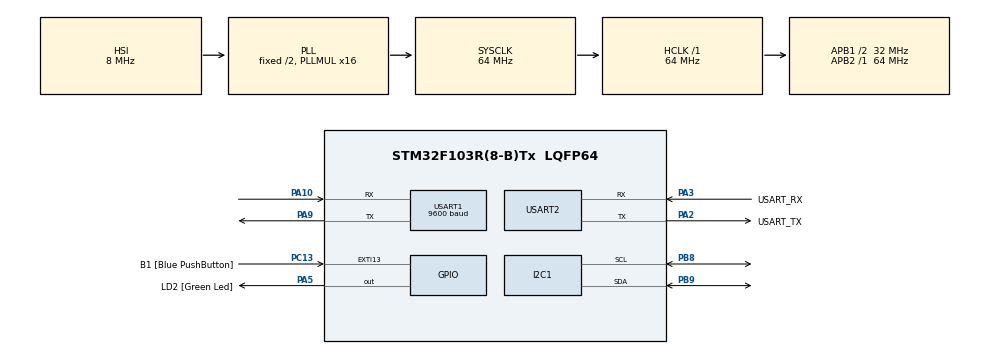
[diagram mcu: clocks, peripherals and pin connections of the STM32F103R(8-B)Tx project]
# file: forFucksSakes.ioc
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Dma.Request0=USART1_RX
Dma.USART1_RX.0.Direction=DMA_PERIPH_TO_MEMORY
Dma.USART1_RX.0.Instance=DMA1_Channel5
Dma.USART1_RX.0.MemDataAlignment=DMA_MDATAALIGN_BYTE
Dma.USART1_RX.0.MemInc=DMA_MINC_ENABLE
Dma.USART1_RX.0.Mode=DMA_NORMAL
Dma.USART1_RX.0.PeriphDataAlignment=DMA_PDATAALIGN_BYTE
Dma.USART1_RX.0.PeriphInc=DMA_PINC_DISABLE
Dma.USART1_RX.0.Priority=DMA_PRIORITY_LOW
Mcu.Family=STM32F1
Mcu.Name=STM32F103R(8-B)Tx
Mcu.Package=LQFP64
NVIC.DMA1_Channel5_IRQn=true\:0\:0\:false\:false\:true\:false\:true\:true
NVIC.EXTI15_10_IRQn=true\:0\:0\:false\:false\:true\:true\:true\:true
NVIC.PriorityGroup=NVIC_PRIORITYGROUP_4
NVIC.USART1_IRQn=true\:0\:0\:false\:false\:true\:true\:true\:true
PA10.Mode=Asynchronous
PA10.Signal=USART1_RX
PA13.GPIO_Label=TMS
PA13.Mode=Serial_Wire
PA13.Signal=SYS_JTMS-SWDIO
PA14.GPIO_Label=TCK
PA14.Mode=Serial_Wire
PA14.Signal=SYS_JTCK-SWCLK
PA2.GPIO_Label=USART_TX
PA2.GPIO_Mode=GPIO_MODE_AF_PP
PA2.GPIO_PuPd=GPIO_NOPULL
PA2.GPIO_Speed=GPIO_SPEED_FREQ_LOW
PA2.Mode=Asynchronous
PA2.Signal=USART2_TX
PA3.GPIO_Label=USART_RX
PA3.GPIO_Mode=GPIO_MODE_AF_PP
PA3.GPIO_PuPd=GPIO_NOPULL
PA3.GPIO_Speed=GPIO_SPEED_FREQ_LOW
PA3.Mode=Asynchronous
PA3.Signal=USART2_RX
PA5.GPIO_Label=LD2 [Green Led]
PA5.GPIO_ModeDefaultOutputPP=GPIO_MODE_OUTPUT_PP
PA5.GPIO_PuPd=GPIO_NOPULL
PA5.GPIO_Speed=GPIO_SPEED_FREQ_LOW
PA5.PinState=GPIO_PIN_SET
PA5.Signal=GPIO_Output
PA9.Mode=Asynchronous
PA9.Signal=USART1_TX
PB3.Signal=SYS_JTDO-TRACESWO
PB8.Mode=I2C
PB8.Signal=I2C1_SCL
PB9.Mode=I2C
PB9.Signal=I2C1_SDA
PC13-TAMPER-RTC.GPIO_Label=B1 [Blue PushButton]
PC13-TAMPER-RTC.GPIO_PuPd=GPIO_NOPULL
PC13-TAMPER-RTC.Signal=GPXTI13
PC14-OSC32_IN.Mode=LSE-External-Oscillator
PC14-OSC32_IN.Signal=RCC_OSC32_IN
PC15-OSC32_OUT.Mode=LSE-External-Oscillator
PC15-OSC32_OUT.Signal=RCC_OSC32_OUT
PD0-OSC_IN.Mode=HSE-External-Oscillator
PD0-OSC_IN.Signal=RCC_OSC_IN
PD1-OSC_OUT.Mode=HSE-External-Oscillator
PD1-OSC_OUT.Signal=RCC_OSC_OUT
ProjectManager.HeapSize=0x200
ProjectManager.StackSize=0x400
ProjectManager.TargetToolchain=STM32CubeIDE
RCC.AHBFreq_Value=64000000
RCC.APB1CLKDivider=RCC_HCLK_DIV2
RCC.APB1Freq_Value=32000000
RCC.APB1TimFreq_Value=64000000
RCC.APB2Freq_Value=64000000
RCC.APB2TimFreq_Value=64000000
RCC.HCLKFreq_Value=64000000
RCC.PLLMUL=RCC_PLL_MUL16
RCC.RTCClockSelection=RCC_RTCCLKSOURCE_LSE
RCC.SYSCLKFreq_VALUE=64000000
RCC.SYSCLKSource=RCC_SYSCLKSOURCE_PLLCLK
RCC.USBFreq_Value=64000000
USART1.BaudRate=9600
USART1.VirtualMode=VM_ASYNC
USART2.VirtualMode=VM_ASYNC
board=NUCLEO-F103RB

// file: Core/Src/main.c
/* USER CODE BEGIN Header */
/**
  ******************************************************************************
  * @file           : main.c
  * @brief          : Main program body
  ******************************************************************************
  * @attention
  *
  * Copyright (c) 2024 STMicroelectronics.
  * All rights reserved.
  *
  * This software is licensed under terms that can be found in the LICENSE file
  * in the root directory of this software component.
  * If no LICENSE file comes with this software, it is provided AS-IS.
  *
  ******************************************************************************
  */
/* USER CODE END Header */
#include "main.h"

/* USER CODE BEGIN Includes */
#include "stdio.h"
#include "stdlib.h"
#include "string.h"
#include "bno055_stm32.h"
/* USER CODE END Includes */

/* USER CODE BEGIN PTD */
//GPS IMPLEMENTATION START
uint8_t flag = 0;
uint8_t RxData[512];
// this interrupts changes flag to 1 as soon as the uint8_t buff[300] is full
void HAL_UART_RxCpltCallback(UART_HandleTypeDef *huart) {

	flag = 1;

}

// GPS IMPLEMENTATION END
/* USER CODE END PTD */

I2C_HandleTypeDef hi2c1;

UART_HandleTypeDef huart1;
UART_HandleTypeDef huart2;
DMA_HandleTypeDef hdma_usart1_rx;

void SystemClock_Config(void);
static void MX_GPIO_Init(void);
static void MX_DMA_Init(void);
static void MX_USART2_UART_Init(void);
static void MX_I2C1_Init(void);
static void MX_USART1_UART_Init(void);

/* USER CODE BEGIN 0 */
int _write(int file, char *ptr, int len){
	HAL_UART_Transmit(&huart2, (uint8_t*)ptr, len, HAL_MAX_DELAY);
	return len;
}

/* USER CODE END 0 */

int main(void)
{

  /* MCU Configuration--------------------------------------------------------*/

  /* Reset of all peripherals, Initializes the Flash interface and the Systick. */
  HAL_Init();

  /* Configure the system clock */
  SystemClock_Config();

  /* Initialize all configured peripherals */
  MX_GPIO_Init();
  MX_DMA_Init();
  MX_USART2_UART_Init();
  MX_I2C1_Init();
  MX_USART1_UART_Init();
  /* USER CODE BEGIN 2 */
  bno055_assignI2C(&hi2c1);
  bno055_setup();
  bno055_setOperationModeNDOF();
  HAL_UART_Receive_DMA(&huart1, RxData, 124);
  //GPS IMPLEMENTATION START
  HAL_GPIO_WritePin(GPIOA, GPIO_PIN_5, GPIO_PIN_RESET);
  HAL_Delay(350);
  HAL_GPIO_WritePin(GPIOA, GPIO_PIN_5, GPIO_PIN_SET);
  //GPS IMPLEMENTATION END
  /* USER CODE END 2 */

  /* Infinite loop */
  /* USER CODE BEGIN WHILE */
  while (1)
  {

		// LED
		bno055_vector_t v = bno055_getVectorEuler();
		printf("Heading: %.2f Roll: %.2f Pitch: %.2f\r\n", v.x, v.y, v.z);
		if (flag == 1){
			printf("\n%s\n",RxData);
		}
		HAL_Delay(200);
    /* USER CODE END WHILE */

  }
}

void SystemClock_Config(void)
{
  RCC_OscInitTypeDef RCC_OscInitStruct = {0};
  RCC_ClkInitTypeDef RCC_ClkInitStruct = {0};

  /** Initializes the RCC Oscillators according to the specified parameters
  * in the RCC_OscInitTypeDef structure.
  */
  RCC_OscInitStruct.OscillatorType = RCC_OSCILLATORTYPE_HSI;
  RCC_OscInitStruct.HSIState = RCC_HSI_ON;
  RCC_OscInitStruct.HSICalibrationValue = RCC_HSICALIBRATION_DEFAULT;
  RCC_OscInitStruct.PLL.PLLState = RCC_PLL_ON;
  RCC_OscInitStruct.PLL.PLLSource = RCC_PLLSOURCE_HSI_DIV2;
  RCC_OscInitStruct.PLL.PLLMUL = RCC_PLL_MUL16;
  if (HAL_RCC_OscConfig(&RCC_OscInitStruct) != HAL_OK)
  {
    Error_Handler();
  }

  /** Initializes the CPU, AHB and APB buses clocks
  */
  RCC_ClkInitStruct.ClockType = RCC_CLOCKTYPE_HCLK|RCC_CLOCKTYPE_SYSCLK
                              |RCC_CLOCKTYPE_PCLK1|RCC_CLOCKTYPE_PCLK2;
  RCC_ClkInitStruct.SYSCLKSource = RCC_SYSCLKSOURCE_PLLCLK;
  RCC_ClkInitStruct.AHBCLKDivider = RCC_SYSCLK_DIV1;
  RCC_ClkInitStruct.APB1CLKDivider = RCC_HCLK_DIV2;
  RCC_ClkInitStruct.APB2CLKDivider = RCC_HCLK_DIV1;

  if (HAL_RCC_ClockConfig(&RCC_ClkInitStruct, FLASH_LATENCY_2) != HAL_OK)
  {
    Error_Handler();
  }
}

static void MX_I2C1_Init(void)
{

  hi2c1.Instance = I2C1;
  hi2c1.Init.ClockSpeed = 100000;
  hi2c1.Init.DutyCycle = I2C_DUTYCYCLE_2;
  hi2c1.Init.OwnAddress1 = 0;
  hi2c1.Init.AddressingMode = I2C_ADDRESSINGMODE_7BIT;
  hi2c1.Init.DualAddressMode = I2C_DUALADDRESS_DISABLE;
  hi2c1.Init.OwnAddress2 = 0;
  hi2c1.Init.GeneralCallMode = I2C_GENERALCALL_DISABLE;
  hi2c1.Init.NoStretchMode = I2C_NOSTRETCH_DISABLE;
  if (HAL_I2C_Init(&hi2c1) != HAL_OK)
  {
    Error_Handler();
  }

}

static void MX_USART1_UART_Init(void)
{

  huart1.Instance = USART1;
  huart1.Init.BaudRate = 9600;
  huart1.Init.WordLength = UART_WORDLENGTH_8B;
  huart1.Init.StopBits = UART_STOPBITS_1;
  huart1.Init.Parity = UART_PARITY_NONE;
  huart1.Init.Mode = UART_MODE_TX_RX;
  huart1.Init.HwFlowCtl = UART_HWCONTROL_NONE;
  huart1.Init.OverSampling = UART_OVERSAMPLING_16;
  if (HAL_UART_Init(&huart1) != HAL_OK)
  {
    Error_Handler();
  }

}

static void MX_USART2_UART_Init(void)
{

  huart2.Instance = USART2;
  huart2.Init.BaudRate = 115200;
  huart2.Init.WordLength = UART_WORDLENGTH_8B;
  huart2.Init.StopBits = UART_STOPBITS_1;
  huart2.Init.Parity = UART_PARITY_NONE;
  huart2.Init.Mode = UART_MODE_TX_RX;
  huart2.Init.HwFlowCtl = UART_HWCONTROL_NONE;
  huart2.Init.OverSampling = UART_OVERSAMPLING_16;
  if (HAL_UART_Init(&huart2) != HAL_OK)
  {
    Error_Handler();
  }

}

static void MX_DMA_Init(void)
{

  /* DMA controller clock enable */
  __HAL_RCC_DMA1_CLK_ENABLE();

  /* DMA interrupt init */
  /* DMA1_Channel5_IRQn interrupt configuration */
  HAL_NVIC_SetPriority(DMA1_Channel5_IRQn, 0, 0);
  HAL_NVIC_EnableIRQ(DMA1_Channel5_IRQn);

}

static void MX_GPIO_Init(void)
{
  GPIO_InitTypeDef GPIO_InitStruct = {0};

  /* GPIO Ports Clock Enable */
  __HAL_RCC_GPIOC_CLK_ENABLE();
  __HAL_RCC_GPIOD_CLK_ENABLE();
  __HAL_RCC_GPIOA_CLK_ENABLE();
  __HAL_RCC_GPIOB_CLK_ENABLE();

  /*Configure GPIO pin Output Level */
  HAL_GPIO_WritePin(LD2_GPIO_Port, LD2_Pin, GPIO_PIN_SET);

  /*Configure GPIO pin : B1_Pin */
  GPIO_InitStruct.Pin = B1_Pin;
  GPIO_InitStruct.Mode = GPIO_MODE_IT_RISING;
  GPIO_InitStruct.Pull = GPIO_NOPULL;
  HAL_GPIO_Init(B1_GPIO_Port, &GPIO_InitStruct);

  /*Configure GPIO pin : LD2_Pin */
  GPIO_InitStruct.Pin = LD2_Pin;
  GPIO_InitStruct.Mode = GPIO_MODE_OUTPUT_PP;
  GPIO_InitStruct.Pull = GPIO_NOPULL;
  GPIO_InitStruct.Speed = GPIO_SPEED_FREQ_LOW;
  HAL_GPIO_Init(LD2_GPIO_Port, &GPIO_InitStruct);

  /* EXTI interrupt init*/
  HAL_NVIC_SetPriority(EXTI15_10_IRQn, 0, 0);
  HAL_NVIC_EnableIRQ(EXTI15_10_IRQn);

}

void Error_Handler(void)
{
  __disable_irq();
  while (1)
  {
  }
}
